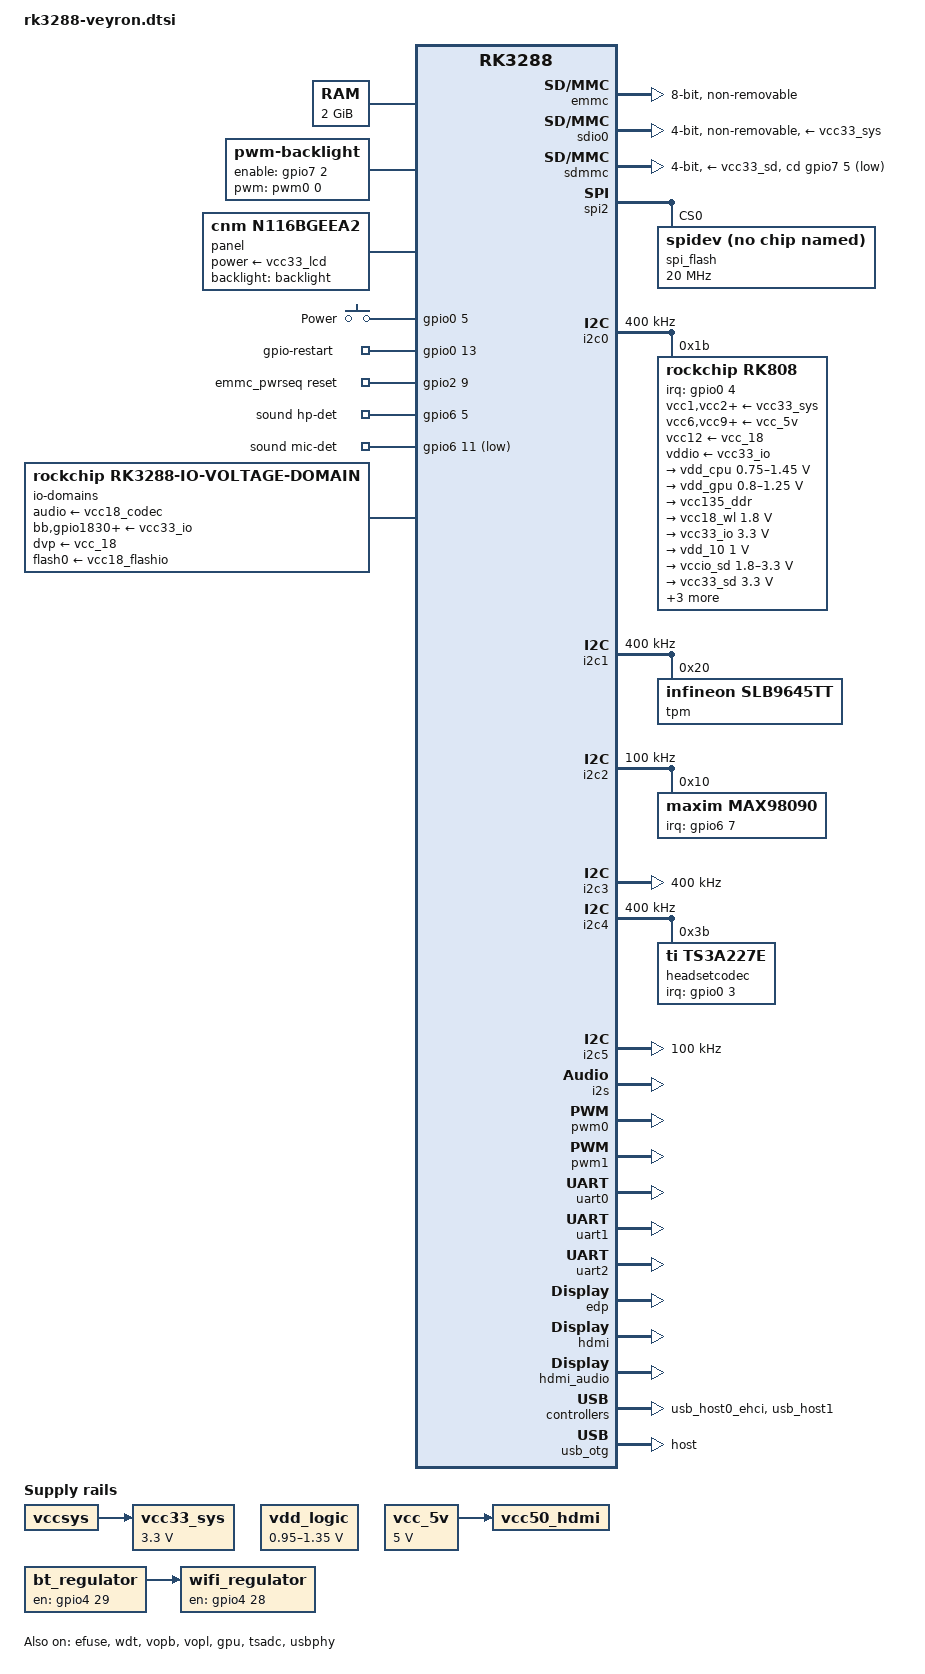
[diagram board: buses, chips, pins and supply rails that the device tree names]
// SPDX-License-Identifier: GPL-2.0
/*
 * Google Veyron (and derivatives) board device tree source
 *
 * Copyright 2014 Google, Inc
 */

#include <dt-bindings/clock/rockchip,rk808.h>
#include <dt-bindings/input/input.h>
#include "rk3288.dtsi"

/ {
	memory {
		reg = <0x0 0x80000000>;
	};

	chosen {
		stdout-path = &uart2;
	};

	config {
		u-boot,dm-pre-reloc;
		u-boot,boot0 = &spi_flash;
	};

	firmware {
		chromeos {
			pinctrl-names = "default";
			pinctrl-0 = <&fw_wp_ap>;
			write-protect-gpio = <&gpio7 6 GPIO_ACTIVE_LOW>;
		};
	};

	backlight: backlight {
		compatible = "pwm-backlight";
		brightness-levels = <
			  0   1   2   3   4   5   6   7
			  8   9  10  11  12  13  14  15
			 16  17  18  19  20  21  22  23
			 24  25  26  27  28  29  30  31
			 32  33  34  35  36  37  38  39
			 40  41  42  43  44  45  46  47
			 48  49  50  51  52  53  54  55
			 56  57  58  59  60  61  62  63
			 64  65  66  67  68  69  70  71
			 72  73  74  75  76  77  78  79
			 80  81  82  83  84  85  86  87
			 88  89  90  91  92  93  94  95
			 96  97  98  99 100 101 102 103
			104 105 106 107 108 109 110 111
			112 113 114 115 116 117 118 119
			120 121 122 123 124 125 126 127
			128 129 130 131 132 133 134 135
			136 137 138 139 140 141 142 143
			144 145 146 147 148 149 150 151
			152 153 154 155 156 157 158 159
			160 161 162 163 164 165 166 167
			168 169 170 171 172 173 174 175
			176 177 178 179 180 181 182 183
			184 185 186 187 188 189 190 191
			192 193 194 195 196 197 198 199
			200 201 202 203 204 205 206 207
			208 209 210 211 212 213 214 215
			216 217 218 219 220 221 222 223
			224 225 226 227 228 229 230 231
			232 233 234 235 236 237 238 239
			240 241 242 243 244 245 246 247
			248 249 250 251 252 253 254 255>;
		default-brightness-level = <128>;
		enable-gpios = <&gpio7 2 GPIO_ACTIVE_HIGH>;
		backlight-boot-off;
		pinctrl-names = "default";
		pinctrl-0 = <&bl_en>;
		pwms = <&pwm0 0 1000000 0>;
	};

	panel: panel {
		compatible ="cnm,n116bgeea2","simple-panel";
		status = "okay";
		power-supply = <&vcc33_lcd>;
		backlight = <&backlight>;
	};

	gpio_keys: gpio-keys {
		compatible = "gpio-keys";

		pinctrl-names = "default";
		pinctrl-0 = <&pwr_key_h>;
		power {
			label = "Power";
			gpios = <&gpio0 5 GPIO_ACTIVE_HIGH>;
			linux,code = <KEY_POWER>;
			debounce-interval = <100>;
			gpio-key,wakeup;
		};
	};

	gpio-restart {
		compatible = "gpio-restart";
		gpios = <&gpio0 13 GPIO_ACTIVE_HIGH>;
		pinctrl-names = "default";
		pinctrl-0 = <&ap_warm_reset_h>;
		priority = /bits/ 8 <200>;
	};

	emmc_pwrseq: emmc-pwrseq {
		compatible = "mmc-pwrseq-emmc";
		pinctrl-0 = <&emmc_reset>;
		pinctrl-names = "default";
		reset-gpios = <&gpio2 9 GPIO_ACTIVE_HIGH>;
	};

	sound {
		compatible = "rockchip,rockchip-audio-max98090";
		rockchip,model = "ROCKCHIP-I2S";
		rockchip,i2s-controller = <&i2s>;
		rockchip,audio-codec = <&max98090>;
		rockchip,hp-det-gpios = <&gpio6 5 GPIO_ACTIVE_HIGH>;
		rockchip,mic-det-gpios = <&gpio6 11 GPIO_ACTIVE_LOW>;
		rockchip,headset-codec = <&headsetcodec>;
		pinctrl-names = "default";
		pinctrl-0 = <&mic_det>, <&hp_det>;
	};

	vdd_logic: pwm-regulator {
		compatible = "pwm-regulator";
		pwms = <&pwm1 0 2000 0>;

		voltage-table = <1350000 0>,
				<1300000 10>,
				<1250000 20>,
				<1200000 31>,
				<1150000 41>,
				<1100000 52>,
				<1050000 62>,
				<1000000 72>,
				< 950000 83>;

		regulator-min-microvolt = <950000>;
		regulator-max-microvolt = <1350000>;
		regulator-name = "vdd_logic";
		regulator-ramp-delay = <4000>;
	};

	vcc33_sys: vcc33-sys {
		compatible = "regulator-fixed";
		regulator-name = "vcc33_sys";
		regulator-always-on;
		regulator-boot-on;
		regulator-min-microvolt = <3300000>;
		regulator-max-microvolt = <3300000>;
		vin-supply = <&vccsys>;
	};

	vcc_5v: vcc-5v {
		compatible = "regulator-fixed";
		regulator-name = "vcc_5v";
		regulator-always-on;
		regulator-boot-on;
		regulator-min-microvolt = <5000000>;
		regulator-max-microvolt = <5000000>;
	};

	vcc50_hdmi: vcc50-hdmi {
		compatible = "regulator-fixed";
		regulator-name = "vcc50_hdmi";
		regulator-always-on;
		regulator-boot-on;
		vin-supply = <&vcc_5v>;
	};

	bt_regulator: bt-regulator {
		/*
		 * On the module itself this is one of these (depending
		 * on the actual card pouplated):
		 * - BT_I2S_WS_BT_RFDISABLE_L
		 * - No connect
		 */

		compatible = "regulator-fixed";
		enable-active-high;
		gpio = <&gpio4 29 GPIO_ACTIVE_HIGH>;
		pinctrl-names = "default";
		pinctrl-0 = <&bt_enable_l>;
		regulator-name = "bt_regulator";
	};

	wifi_regulator: wifi-regulator {
		/*
		 * On the module itself this is one of these (depending
		 * on the actual card populated):
		 * - SDIO_RESET_L_WL_REG_ON
		 * - PDN (power down when low)
		 */

		compatible = "regulator-fixed";
		enable-active-high;
		gpio = <&gpio4 28 GPIO_ACTIVE_HIGH>;
		pinctrl-names = "default";
		pinctrl-0 = <&wifi_enable_h>;
		regulator-name = "wifi_regulator";

		/* Faux input supply.  See bt_regulator description. */
		vin-supply = <&bt_regulator>;
	};

	io-domains {
		compatible = "rockchip,rk3288-io-voltage-domain";
		rockchip,grf = <&grf>;

		audio-supply = <&vcc18_codec>;
		bb-supply = <&vcc33_io>;
		dvp-supply = <&vcc_18>;
		flash0-supply = <&vcc18_flashio>;
		gpio1830-supply = <&vcc33_io>;
		gpio30-supply = <&vcc33_io>;
		lcdc-supply = <&vcc33_lcd>;
		sdcard-supply = <&vccio_sd>;
		wifi-supply = <&vcc18_wl>;
	};
};

&cpu0 {
	cpu0-supply = <&vdd_cpu>;
};

&dmc {
	logic-supply = <&vdd_logic>;
	rockchip,odt-disable-freq = <333000000>;
	rockchip,dll-disable-freq = <333000000>;
	rockchip,sr-enable-freq = <333000000>;
	rockchip,pd-enable-freq = <666000000>;
	rockchip,auto-self-refresh-cnt = <0>;
	rockchip,auto-power-down-cnt = <64>;
	rockchip,ddr-speed-bin = <21>;
	rockchip,trcd = <10>;
	rockchip,trp = <10>;
	operating-points = <
		/* KHz    uV */
		200000 1050000
		333000 1100000
		533000 1150000
		666000 1200000
	>;
};

&efuse {
	status = "okay";
};

&emmc {
	broken-cd;
	bus-width = <8>;
	cap-mmc-highspeed;
	mmc-hs200-1_8v;
	mmc-pwrseq = <&emmc_pwrseq>;
	disable-wp;
	non-removable;
	num-slots = <1>;
	pinctrl-names = "default";
	pinctrl-0 = <&emmc_clk &emmc_cmd &emmc_bus8 &emmc_pwr>;
	status = "okay";
};

&sdio0 {
	broken-cd;
	bus-width = <4>;
	cap-sd-highspeed;
	sd-uhs-sdr12;
	sd-uhs-sdr25;
	sd-uhs-sdr50;
	sd-uhs-sdr104;
	cap-sdio-irq;
	card-external-vcc-supply = <&wifi_regulator>;
	clocks = <&cru HCLK_SDIO0>, <&cru SCLK_SDIO0>, <&cru SCLK_SDIO0_DRV>,
		 <&cru SCLK_SDIO0_SAMPLE>, <&rk808 RK808_CLKOUT1>;
	clock-names = "biu", "ciu", "ciu_drv", "ciu_sample", "card_ext_clock";
	keep-power-in-suspend;
	non-removable;
	num-slots = <1>;
	pinctrl-names = "default";
	pinctrl-0 = <&sdio0_clk &sdio0_cmd &sdio0_bus4>;
	status = "okay";
	vmmc-supply = <&vcc33_sys>;
	vqmmc-supply = <&vcc18_wl>;
};

&sdmmc {
	bus-width = <4>;
	cap-mmc-highspeed;
	cap-sd-highspeed;
	sd-uhs-sdr12;
	sd-uhs-sdr25;
	sd-uhs-sdr50;
	sd-uhs-sdr104;
	card-detect-delay = <200>;
	cd-gpios = <&gpio7 5 GPIO_ACTIVE_LOW>;
	num-slots = <1>;
	status = "okay";
	vmmc-supply = <&vcc33_sd>;
	vqmmc-supply = <&vccio_sd>;
};

&spi2 {
	status = "okay";
	u-boot,dm-pre-reloc;

	spi_flash: spiflash@0 {
		u-boot,dm-pre-reloc;
		compatible = "spidev", "jedec,spi-nor";
		spi-max-frequency = <20000000>; /* Reduce for Dediprog em100 pro */
		reg = <0>;
	};
};

&i2c0 {
	status = "okay";

	clock-frequency = <400000>;
	i2c-scl-falling-time-ns = <50>;		/* 2.5ns measured */
	i2c-scl-rising-time-ns = <100>;		/* 45ns measured */
	u-boot,dm-pre-reloc;

	rk808: pmic@1b {
		compatible = "rockchip,rk808";
		clock-output-names = "xin32k", "wifibt_32kin";
		interrupt-parent = <&gpio0>;
		interrupts = <4 IRQ_TYPE_LEVEL_LOW>;
		pinctrl-names = "default";
		pinctrl-0 = <&pmic_int_l>;
		reg = <0x1b>;
		rockchip,system-power-controller;
		wakeup-source;
		#clock-cells = <1>;
		u-boot,dm-pre-reloc;

		vcc1-supply = <&vcc33_sys>;
		vcc2-supply = <&vcc33_sys>;
		vcc3-supply = <&vcc33_sys>;
		vcc4-supply = <&vcc33_sys>;
		vcc6-supply = <&vcc_5v>;
		vcc7-supply = <&vcc33_sys>;
		vcc8-supply = <&vcc33_sys>;
		vcc9-supply = <&vcc_5v>;
		vcc10-supply = <&vcc33_sys>;
		vcc11-supply = <&vcc_5v>;
		vcc12-supply = <&vcc_18>;

		vddio-supply = <&vcc33_io>;

		regulators {
			vdd_cpu: DCDC_REG1 {
				regulator-always-on;
				regulator-boot-on;
				regulator-min-microvolt = <750000>;
				regulator-max-microvolt = <1450000>;
				regulator-name = "vdd_arm";
				regulator-ramp-delay = <6001>;
				regulator-suspend-mem-disabled;
			};

			vdd_gpu: DCDC_REG2 {
				regulator-always-on;
				regulator-boot-on;
				regulator-min-microvolt = <800000>;
				regulator-max-microvolt = <1250000>;
				regulator-name = "vdd_gpu";
				regulator-ramp-delay = <6001>;
				regulator-suspend-mem-disabled;
			};

			vcc135_ddr: DCDC_REG3 {
				regulator-always-on;
				regulator-boot-on;
				regulator-name = "vcc135_ddr";
				regulator-suspend-mem-enabled;
			};

			/*
			 * vcc_18 has several aliases.  (vcc18_flashio and
			 * vcc18_wl).  We'll add those aliases here just to
			 * make it easier to follow the schematic.  The signals
			 * are actually hooked together and only separated for
			 * power measurement purposes).
			 */
			vcc18_wl: vcc18_flashio: vcc_18: DCDC_REG4 {
				regulator-always-on;
				regulator-boot-on;
				regulator-min-microvolt = <1800000>;
				regulator-max-microvolt = <1800000>;
				regulator-name = "vcc_18";
				regulator-suspend-mem-microvolt = <1800000>;
			};

			/*
			 * Note that both vcc33_io and vcc33_pmuio are always
			 * powered together. To simplify the logic in the dts
			 * we just refer to vcc33_io every time something is
			 * powered from vcc33_pmuio. In fact, on later boards
			 * (such as danger) they're the same net.
			 */
			vcc33_io: LDO_REG1 {
				regulator-always-on;
				regulator-boot-on;
				regulator-min-microvolt = <3300000>;
				regulator-max-microvolt = <3300000>;
				regulator-name = "vcc33_io";
				regulator-suspend-mem-microvolt = <3300000>;
			};

			vdd_10: LDO_REG3 {
				regulator-always-on;
				regulator-boot-on;
				regulator-min-microvolt = <1000000>;
				regulator-max-microvolt = <1000000>;
				regulator-name = "vdd_10";
				regulator-suspend-mem-microvolt = <1000000>;
			};

			vccio_sd: LDO_REG4 {
				regulator-min-microvolt = <1800000>;
				regulator-max-microvolt = <3300000>;
				regulator-name = "vccio_sd";
				regulator-suspend-mem-disabled;
			};

			vcc33_sd: LDO_REG5 {
				regulator-min-microvolt = <3300000>;
				regulator-max-microvolt = <3300000>;
				regulator-name = "vcc33_sd";
				regulator-suspend-mem-disabled;
			};

			vcc18_codec: LDO_REG6 {
				regulator-always-on;
				regulator-boot-on;
				regulator-min-microvolt = <1800000>;
				regulator-max-microvolt = <1800000>;
				regulator-name = "vcc18_codec";
				regulator-suspend-mem-disabled;
			};

			vdd10_lcd_pwren_h: LDO_REG7 {
				regulator-always-on;
				regulator-boot-on;
				regulator-min-microvolt = <2500000>;
				regulator-max-microvolt = <2500000>;
				regulator-name = "vdd10_lcd_pwren_h";
				regulator-suspend-mem-disabled;
			};

			vcc33_lcd: SWITCH_REG1 {
				regulator-always-on;
				regulator-boot-on;
				regulator-name = "vcc33_lcd";
				regulator-suspend-mem-disabled;
			};
		};
	};
};

&i2c1 {
	status = "okay";

	clock-frequency = <400000>;
	i2c-scl-falling-time-ns = <50>;		/* 2.5ns measured */
	i2c-scl-rising-time-ns = <100>;		/* 40ns measured */

	tpm: tpm@20 {
		compatible = "infineon,slb9645tt";
		reg = <0x20>;
		powered-while-suspended;
	};
};

&i2c2 {
	status = "okay";

	/* 100kHz since 4.7k resistors don't rise fast enough */
	clock-frequency = <100000>;
	i2c-scl-falling-time-ns = <50>;		/* 10ns measured */
	i2c-scl-rising-time-ns = <800>;		/* 600ns measured */

	max98090: max98090@10 {
		compatible = "maxim,max98090";
		reg = <0x10>;
		#sound-dai-cells = <0>;
		interrupt-parent = <&gpio6>;
		interrupts = <7 IRQ_TYPE_EDGE_FALLING>;
		pinctrl-names = "default";
		pinctrl-0 = <&int_codec>;
	};
};

&i2c3 {
	status = "okay";

	clock-frequency = <400000>;
	i2c-scl-falling-time-ns = <50>;
	i2c-scl-rising-time-ns = <300>;
};

&i2c4 {
	status = "okay";

	clock-frequency = <400000>;
	i2c-scl-falling-time-ns = <50>;		/* 11ns measured */
	i2c-scl-rising-time-ns = <300>;		/* 225ns measured */

	headsetcodec: ts3a227e@3b {
		compatible = "ti,ts3a227e";
		reg = <0x3b>;
		interrupt-parent = <&gpio0>;
		interrupts = <3 IRQ_TYPE_LEVEL_LOW>;
		pinctrl-names = "default";
		pinctrl-0 = <&ts3a227e_int_l>;
		ti,micbias = <7>;		/* MICBIAS = 2.8V */
	};
};

&i2c5 {
	status = "okay";

	clock-frequency = <100000>;
	i2c-scl-falling-time-ns = <300>;
	i2c-scl-rising-time-ns = <1000>;
};

&i2s {
	status = "okay";
	clock-names = "i2s_hclk", "i2s_clk", "i2s_clk_out";
	clocks = <&cru HCLK_I2S0>, <&cru SCLK_I2S0>, <&cru SCLK_I2S0_OUT>;
};

&wdt {
	status = "okay";
};

&pwm0 {
	status = "okay";
};

&pwm1 {
	status = "okay";
};

&uart0 {
	status = "okay";

	/* Pins don't include flow control by default; add that in */
	pinctrl-names = "default";
	pinctrl-0 = <&uart0_xfer &uart0_cts &uart0_rts>;
	/* We need to go faster than 24MHz, so adjust clock parents / rates */
	assigned-clocks = <&cru SCLK_UART0>;
	assigned-clock-rates = <48000000>;
};

&uart1 {
	status = "okay";
};

&uart2 {
	status = "okay";
	u-boot,dm-pre-reloc;
	reg-shift = <2>;
};

&vopb {
	status = "okay";
};

&vopb_mmu {
	status = "okay";
};

&vopl {
	status = "okay";
};

&vopl_mmu {
	status = "okay";
};

&edp {
	status = "okay";
	rockchip,panel = <&panel>;
};

&hdmi {
	status = "okay";
};

&hdmi_audio {
	status = "okay";
};

&gpu {
	status = "okay";
};

&tsadc {
	tsadc-tshut-mode = <1>; /* tshut mode 0:CRU 1:GPIO */
	tsadc-tshut-polarity = <1>; /* tshut polarity 0:LOW 1:HIGH */
	status = "okay";
};

&pinctrl {
	u-boot,dm-pre-reloc;
	pinctrl-names = "default", "sleep";
	pinctrl-0 = <
		/* Common for sleep and wake, but no owners */
		&ddr0_retention
		&ddrio_pwroff
		&global_pwroff

		/* Wake only */
		&bt_dev_wake_awake
	>;
	pinctrl-1 = <
		/* Common for sleep and wake, but no owners */
		&ddr0_retention
		&ddrio_pwroff
		&global_pwroff

		/* Sleep only */
		&bt_dev_wake_sleep
	>;

	/* Add this for sdmmc pins to SD card */
	pcfg_pull_none_drv_8ma: pcfg-pull-none-drv-8ma {
		drive-strength = <8>;
	};

	pcfg_pull_up_drv_8ma: pcfg-pull-up-drv-8ma {
		bias-pull-up;
		drive-strength = <8>;
	};

	pcfg_output_high: pcfg-output-high {
		output-high;
	};

	pcfg_output_low: pcfg-output-low {
		output-low;
	};

	backlight {
		bl_en: bl-en {
			rockchip,pins = <7 2 RK_FUNC_GPIO &pcfg_pull_none>;
		};
	};

	buttons {
		pwr_key_h: pwr-key-h {
			rockchip,pins = <0 5 RK_FUNC_GPIO &pcfg_pull_none>;
		};
	};

	codec {
		hp_det: hp-det {
			rockchip,pins = <6 5 RK_FUNC_GPIO &pcfg_pull_up>;
		};
		int_codec: int-codec {
			rockchip,pins = <6 7 RK_FUNC_GPIO &pcfg_pull_up>;
		};
		mic_det: mic-det {
			rockchip,pins = <6 11 RK_FUNC_GPIO &pcfg_pull_up>;
		};
	};

	emmc {
		emmc_reset: emmc-reset {
			rockchip,pins = <2 9 RK_FUNC_GPIO &pcfg_pull_none>;
		};

		/*
		 * We run eMMC at max speed; bump up drive strength.
		 * We also have external pulls, so disable the internal ones.
		 */
		emmc_clk: emmc-clk {
			rockchip,pins = <3 18 RK_FUNC_2 &pcfg_pull_none_drv_8ma>;
		};

		emmc_cmd: emmc-cmd {
			rockchip,pins = <3 16 RK_FUNC_2 &pcfg_pull_none_drv_8ma>;
		};

		emmc_bus8: emmc-bus8 {
			rockchip,pins = <3 0 RK_FUNC_2 &pcfg_pull_none_drv_8ma>,
					<3 1 RK_FUNC_2 &pcfg_pull_none_drv_8ma>,
					<3 2 RK_FUNC_2 &pcfg_pull_none_drv_8ma>,
					<3 3 RK_FUNC_2 &pcfg_pull_none_drv_8ma>,
					<3 4 RK_FUNC_2 &pcfg_pull_none_drv_8ma>,
					<3 5 RK_FUNC_2 &pcfg_pull_none_drv_8ma>,
					<3 6 RK_FUNC_2 &pcfg_pull_none_drv_8ma>,
					<3 7 RK_FUNC_2 &pcfg_pull_none_drv_8ma>;
		};
	};

	headset {
		ts3a227e_int_l: ts3a227e-int-l {
			rockchip,pins = <0 3 RK_FUNC_GPIO &pcfg_pull_up>;
		};
	};

	pmic {
		pmic_int_l: pmic-int-l {
			/*
			 * Causes jerry to hang when probing bus 0
			 * rockchip,pins = <RK_GPIO0 4 RK_FUNC_GPIO &pcfg_pull_up>;
			 */
		};
	};

	reboot {
		ap_warm_reset_h: ap-warm-reset-h {
			rockchip,pins = <RK_GPIO0 13 RK_FUNC_GPIO &pcfg_pull_none>;
		};
	};

	sdio0 {
		wifi_enable_h: wifienable-h {
			rockchip,pins = <4 28 RK_FUNC_GPIO &pcfg_pull_none>;
		};

		/* NOTE: mislabelled on schematic; should be bt_enable_h */
		bt_enable_l: bt-enable-l {
			rockchip,pins = <4 29 RK_FUNC_GPIO &pcfg_pull_none>;
		};

		/*
		 * We run sdio0 at max speed; bump up drive strength.
		 * We also have external pulls, so disable the internal ones.
		 */
		sdio0_bus4: sdio0-bus4 {
			rockchip,pins = <4 20 RK_FUNC_1 &pcfg_pull_none_drv_8ma>,
					<4 21 RK_FUNC_1 &pcfg_pull_none_drv_8ma>,
					<4 22 RK_FUNC_1 &pcfg_pull_none_drv_8ma>,
					<4 23 RK_FUNC_1 &pcfg_pull_none_drv_8ma>;
		};

		sdio0_cmd: sdio0-cmd {
			rockchip,pins = <4 24 RK_FUNC_1 &pcfg_pull_none_drv_8ma>;
		};

		sdio0_clk: sdio0-clk {
			rockchip,pins = <4 25 RK_FUNC_1 &pcfg_pull_none_drv_8ma>;
		};

		/*
		 * These pins are only present on very new veyron boards; on
		 * older boards bt_dev_wake is simply always high.  Note that
		 * gpio4_26 is a NC on old veyron boards, so it doesn't hurt
		 * to map this pin everywhere
		 */
		bt_dev_wake_sleep: bt-dev-wake-sleep {
			rockchip,pins = <4 26 RK_FUNC_GPIO &pcfg_output_low>;
		};

		bt_dev_wake_awake: bt-dev-wake-awake {
			rockchip,pins = <4 26 RK_FUNC_GPIO &pcfg_output_high>;
		};
	};

	sdmmc {
		/*
		 * We run sdmmc at max speed; bump up drive strength.
		 * We also have external pulls, so disable the internal ones.
		 */
		sdmmc_bus4: sdmmc-bus4 {
			rockchip,pins = <6 16 RK_FUNC_1 &pcfg_pull_none_drv_8ma>,
					<6 17 RK_FUNC_1 &pcfg_pull_none_drv_8ma>,
					<6 18 RK_FUNC_1 &pcfg_pull_none_drv_8ma>,
					<6 19 RK_FUNC_1 &pcfg_pull_none_drv_8ma>;
		};

		sdmmc_clk: sdmmc-clk {
			rockchip,pins = <6 20 RK_FUNC_1 &pcfg_pull_none_drv_8ma>;
		};

		sdmmc_cmd: sdmmc-cmd {
			rockchip,pins = <6 21 RK_FUNC_1 &pcfg_pull_none_drv_8ma>;
		};

		/*
		 * Builtin CD line is hooked to ground to prevent JTAG at boot
		 * (and also to get the voltage rail correct).  Make we
		 * configure gpio6_C6 as GPIO so dw_mmc builtin CD doesn't
		 * think there's a card inserted
		 */
		sdmmc_cd_disabled: sdmmc-cd-disabled {
			rockchip,pins = <6 22 RK_FUNC_GPIO &pcfg_pull_none>;
		};

		/* This is where we actually hook up CD */
		sdmmc_cd_gpio: sdmmc-cd-gpio {
			rockchip,pins = <7 5 RK_FUNC_GPIO &pcfg_pull_none>;
		};
	};

	tpm {
		tpm_int_h: tpm-int-h {
			rockchip,pins = <7 4 RK_FUNC_GPIO &pcfg_pull_none>;
		};
	};

	write-protect {
		fw_wp_ap: fw-wp-ap {
			rockchip,pins = <7 6 RK_FUNC_GPIO &pcfg_pull_none>;
		};
	};
};

&usbphy {
	status = "okay";
};

&usb_host0_ehci {
	status = "okay";
	needs-reset-on-resume;
};

&usb_host1 {
	status = "okay";
};

&usb_otg {
	dr_mode = "host";
	status = "okay";
	assigned-clocks = <&cru SCLK_USBPHY480M_SRC>;
	assigned-clock-parents = <&cru SCLK_OTGPHY0>;
};

&sdmmc {
	u-boot,dm-pre-reloc;
};

&gpio3 {
	u-boot,dm-pre-reloc;
};

&gpio8 {
	u-boot,dm-pre-reloc;
};
